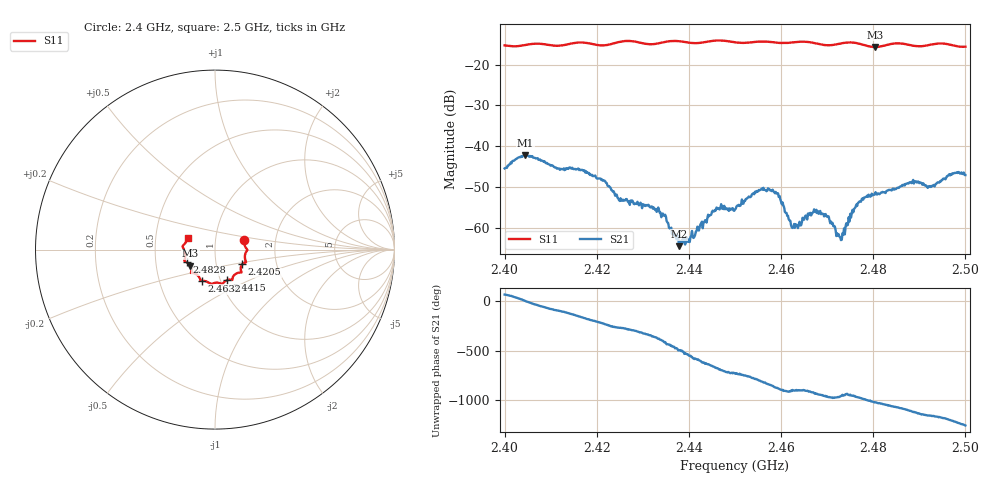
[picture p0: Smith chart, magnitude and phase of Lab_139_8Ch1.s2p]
# Hz S RI R 50
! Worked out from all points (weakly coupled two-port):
!   601 points, 2.4 GHz to 2.5 GHz, reference 50 ohm
!   highest |S21| = -42.25 dB at 2.4045 GHz (marker M1); lowest = -64.5 dB at 2.4378 GHz (marker M2)
!   lowest |S11| = -15.7 dB at 2.4803 GHz (marker M3), VSWR 1.39, Z = 37.4 - j6.85 ohm
!   |S11| at or under -10 dB: start of sweep to end of sweep
!   S12 and S22 are empty: the file has one direction only
!   S11 on the Smith chart (normalised r, x): 2.4 GHz: 1.38, +0.15; 2.4205 GHz: 1.34, -0.23; 2.4415 GHz: 1.07, -0.38; 2.4632 GHz: 0.82, -0.29; 2.4828 GHz: 0.72, -0.10; 2.5 GHz: 0.73, +0.10
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2.4e9  0.1637 0.052  0.00214 0.00488  0 0  0 0
2.4045e9  0.1735 0.00684  0.00771 0.000169  0 0  0 0
2.416667e9  0.1729 -0.07  -0.00487 -0.00158  0 0  0 0
2.4205e9  0.1522 -0.0816  -0.00336 0.0022  0 0  0 0
2.425e9  0.1462 -0.1217  -3.15e-05 0.00212  0 0  0 0
2.433333e9  0.1001 -0.1515  0.00167 -0.000592  0 0  0 0
2.437833e9  0.0944 -0.1689  -0.000437 -0.000401  0 0  0 0
2.4415e9  0.0659 -0.1707  -0.000666 0.000598  0 0  0 0
2.4455e9  0.0419 -0.1916  0.000871 0.00132  0 0  0 0
2.45e9  0.0241 -0.1861  0.00165 -0.000242  0 0  0 0
2.457667e9  -0.0294 -0.1871  -0.00161 -0.00236  0 0  0 0
2.459333e9  -0.0412 -0.1801  -0.00246 -0.000974  0 0  0 0
2.462167e9  -0.0663 -0.174  -0.00107 2.51e-05  0 0  0 0
2.463167e9  -0.0732 -0.1739  -0.0011 -3.15e-05  0 0  0 0
2.466667e9  -0.0821 -0.1671  -0.0014 0.000465  0 0  0 0
2.47e9  -0.0992 -0.1413  -0.000677 0.00122  0 0  0 0
2.473e9  -0.1264 -0.13  -0.000382 0.000591  0 0  0 0
2.476667e9  -0.1324 -0.1248  -0.000753 0.00186  0 0  0 0
2.480333e9  -0.1377 -0.0892  0.00122 0.00224  0 0  0 0
2.482833e9  -0.1585 -0.07  0.00233 0.00157  0 0  0 0
2.483333e9  -0.1624 -0.068  0.00249 0.00149  0 0  0 0
2.5e9  -0.1527 0.0644  -0.00438 -0.000522  0 0  0 0
